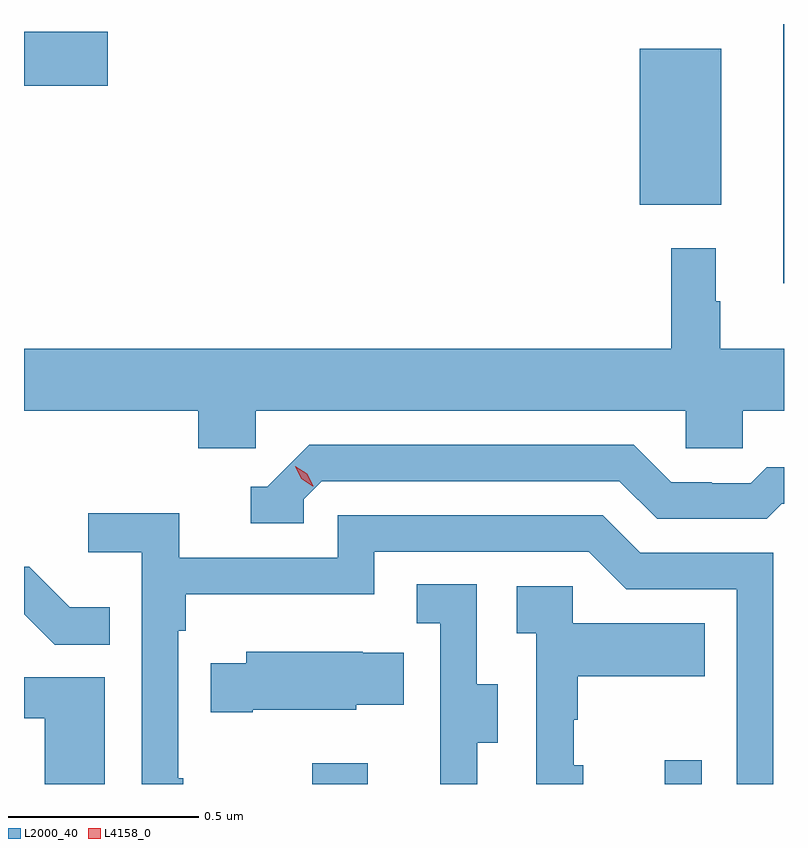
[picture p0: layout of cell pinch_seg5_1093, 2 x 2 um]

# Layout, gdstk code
import gdstk
lib = gdstk.Library(unit=1e-6, precision=1e-09)
def R(c, l, rs):  # rectangles x0, y0, x1, y1
    for r in rs: c.add(gdstk.rectangle(r[:2], r[2:], *l))
def P(c, l, *ps):  # polygons
    for p in ps: c.add(gdstk.Polygon(p, *l))
L2000_40 = (2000, 40)
L4158_0 = (4158, 0)

pinch_seg5_1093 = lib.new_cell('pinch_seg5_1093')
R(pinch_seg5_1093, L2000_40, [(832.048,873.094,832.195,873.148), (832.976,873.094,833.073,873.157), (833.288,874.412,833.29,875.094), (832.91,874.619,833.125,875.029), (831.29,874.931,831.511,875.073)])
P(pinch_seg5_1093, L2000_40, [(831.29,874.076),(831.749,874.076),(831.749,873.978),(831.9,873.978),(831.9,874.076),(833.031,874.076),(833.031,873.978),(833.181,873.978),(833.181,874.076),(833.29,874.076),(833.29,874.24),(833.122,874.24),(833.122,874.364),(833.11,874.364),(833.11,874.504),(832.993,874.504),(832.993,874.24),(831.29,874.24)],
  [(832.026,873.843),(832.074,873.891),(832.857,873.891),(832.956,873.792),(833.245,873.792),(833.284,873.831),(833.29,873.831),(833.29,873.928),(833.245,873.928),(833.203,873.885),(833.1,873.885),(833.1,873.888),(832.993,873.888),(832.894,873.987),(832.041,873.987),(831.93,873.876),(831.887,873.876),(831.887,873.78),(832.026,873.78)],
  [(831.709,873.109),(831.696,873.109),(831.696,873.497),(831.716,873.497),(831.716,873.593),(832.212,873.593),(832.212,873.705),(832.776,873.705),(832.875,873.606),(833.166,873.606),(833.166,873.094),(833.262,873.094),(833.262,873.702),(832.912,873.702),(832.813,873.801),(832.116,873.801),(832.116,873.69),(831.698,873.69),(831.698,873.806),(831.459,873.806),(831.459,873.704),(831.6,873.704),(831.6,873.094),(831.709,873.094)],
  [(831.515,873.559),(831.411,873.559),(831.304,873.666),(831.29,873.666),(831.29,873.541),(831.371,873.46),(831.515,873.46)],
  [(832.483,873.202),(832.537,873.202),(832.537,873.357),(832.482,873.357),(832.482,873.62),(832.323,873.62),(832.323,873.517),(832.386,873.517),(832.386,873.213),(832.385,873.213),(832.385,873.094),(832.483,873.094)],
  [(832.762,873.144),(832.737,873.144),(832.737,873.263),(832.747,873.263),(832.747,873.377),(833.081,873.377),(833.081,873.517),(832.734,873.517),(832.734,873.615),(832.587,873.615),(832.587,873.491),(832.638,873.491),(832.638,873.094),(832.762,873.094)],
  [(831.892,873.29),(832.164,873.29),(832.164,873.302),(832.289,873.302),(832.289,873.439),(832.181,873.439),(832.181,873.442),(831.875,873.442),(831.875,873.412),(831.781,873.412),(831.781,873.283),(831.892,873.283)],
  [(831.502,873.375),(831.29,873.375),(831.29,873.267),(831.344,873.267),(831.344,873.094),(831.502,873.094)])
P(pinch_seg5_1093, L4158_0, [(832.05,873.877),(832.02,873.897),(832.004,873.93),(832.004,873.93),(832.004,873.93),(832.035,873.91),(832.051,873.878),(832.051,873.877)])

lib.write_gds('pinch_seg5_1093.gds')
